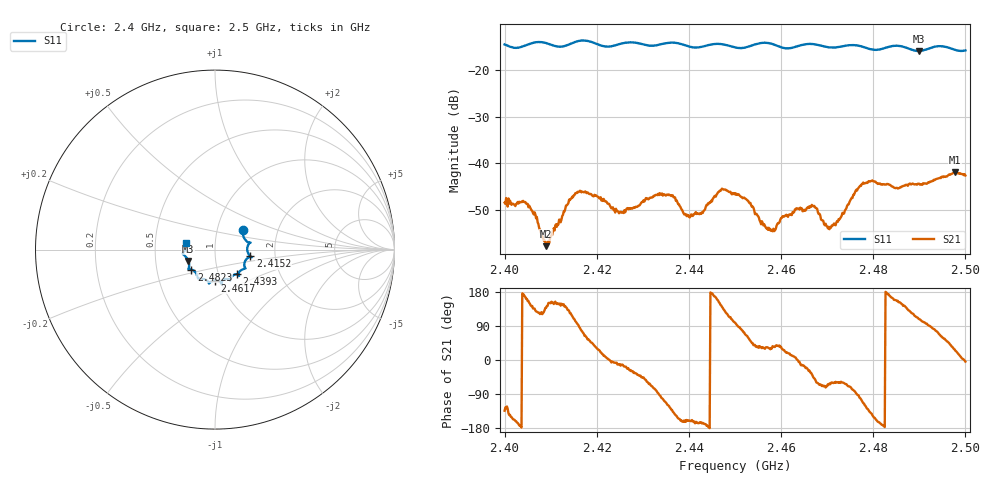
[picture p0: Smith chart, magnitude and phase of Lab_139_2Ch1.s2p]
# Hz S RI R 50
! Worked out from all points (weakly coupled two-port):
!   601 points, 2.4 GHz to 2.5 GHz, reference 50 ohm
!   highest |S21| = -41.89 dB at 2.4977 GHz (marker M1); lowest = -57.8 dB at 2.409 GHz (marker M2)
!   lowest |S11| = -15.8 dB at 2.4898 GHz (marker M3), VSWR 1.38, Z = 36.8 - j4.77 ohm
!   |S11| at or under -10 dB: start of sweep to end of sweep
!   S12 and S22 are empty: the file has one direction only
!   S11 on the Smith chart (normalised r, x): 2.4 GHz: 1.33, +0.30; 2.4152 GHz: 1.49, -0.11; 2.4393 GHz: 1.23, -0.35; 2.4617 GHz: 0.94, -0.34; 2.4823 GHz: 0.75, -0.17; 2.5 GHz: 0.72, +0.05
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2.4e9  0.155 0.1097  -0.00262 -0.00272  0 0  0 0
2.404833e9  0.183 0.0415  -0.00348 0.00118  0 0  0 0
2.409e9  0.193 0.0366  -0.000951 0.000865  0 0  0 0
2.415167e9  0.1971 -0.037  -0.00137 0.00435  0 0  0 0
2.416667e9  0.2047 -0.0424  0.00103 0.00476  0 0  0 0
2.425333e9  0.1664 -0.0993  0.00287 -0.000648  0 0  0 0
2.433333e9  0.1318 -0.1337  0.000198 -0.0047  0 0  0 0
2.4365e9  0.1342 -0.1463  -0.00327 -0.00312  0 0  0 0
2.439333e9  0.123 -0.1378  -0.00271 -0.000832  0 0  0 0
2.442833e9  0.091 -0.1543  -0.0029 -0.000643  0 0  0 0
2.447167e9  0.0842 -0.1715  -0.00411 0.0034  0 0  0 0
2.45e9  0.0662 -0.1638  -0.000714 0.00473  0 0  0 0
2.457667e9  0.0387 -0.1906  0.00173 0.000936  0 0  0 0
2.461667e9  0.000255 -0.1724  0.00267 0.000837  0 0  0 0
2.466667e9  -0.0337 -0.189  0.00284 -0.00217  0 0  0 0
2.470667e9  -0.0529 -0.1678  0.000907 -0.00186  0 0  0 0
2.477333e9  -0.0967 -0.1537  -0.00131 -0.00556  0 0  0 0
2.482333e9  -0.1322 -0.111  -0.00594 -0.000592  0 0  0 0
2.483333e9  -0.1409 -0.1097  -0.00592 0.000683  0 0  0 0
2.489833e9  -0.1484 -0.0631  -0.00194 0.00567  0 0  0 0
2.497667e9  -0.1665 -0.00141  0.00711 0.00378  0 0  0 0
2.5e9  -0.1598 0.0361  0.00737 -0.000546  0 0  0 0
